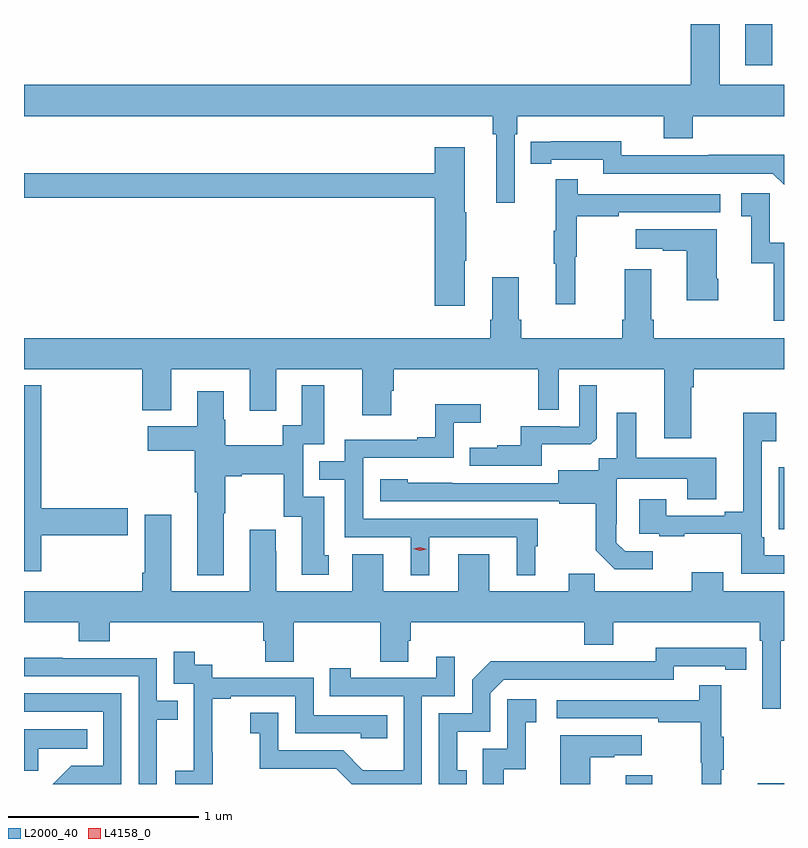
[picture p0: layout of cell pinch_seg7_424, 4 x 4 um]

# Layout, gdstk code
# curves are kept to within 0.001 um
import gdstk
lib = gdstk.Library(unit=1e-6, precision=1e-09)
def R(c, l, rs):  # rectangles x0, y0, x1, y1
    for r in rs: c.add(gdstk.rectangle(r[:2], r[2:], *l))
def P(c, l, *ps):  # polygons
    for p in ps: c.add(gdstk.Polygon(p, *l))
L2000_40 = (2000, 40)
L4158_0 = (4158, 0)

pinch_seg7_424 = lib.new_cell('pinch_seg7_424')
R(pinch_seg7_424, L2000_40, [(329.747,1046.385,329.887,1046.43), (330.443,1046.385,330.58,1046.389), (330.552,1047.725,330.58,1048.051), (330.377,1050.168,330.517,1050.385)])
P(pinch_seg7_424, L2000_40, [(329.163,1049.804),(329.177,1049.804),(329.177,1049.9),(329.948,1049.9),(329.948,1049.783),(330.101,1049.783),(330.101,1049.9),(330.58,1049.9),(330.58,1050.064),(330.241,1050.064),(330.241,1050.385),(330.089,1050.385),(330.089,1050.064),(326.58,1050.064),(326.58,1049.9),(329.047,1049.9),(329.047,1049.804),(329.066,1049.804),(329.066,1049.445),(329.163,1049.445)],
  [(330.58,1049.696),(330.184,1049.696),(330.184,1049.694),(329.724,1049.694),(329.724,1049.767),(329.248,1049.766),(329.248,1049.65),(329.356,1049.65),(329.356,1049.67),(329.628,1049.67),(329.628,1049.598),(330.522,1049.598),(330.58,1049.54)],
  [(328.9,1049.14),(328.908,1049.14),(328.908,1049.393),(328.9,1049.393),(328.9,1049.737),(328.742,1049.737),(328.742,1049.599),(326.58,1049.599),(326.58,1049.47),(328.742,1049.47),(328.742,1048.902),(328.9,1048.902)],
  [(329.48,1049.16),(329.488,1049.16),(329.488,1049.374),(329.711,1049.374),(329.711,1049.394),(330.244,1049.394),(330.244,1049.49),(329.495,1049.49),(329.495,1049.569),(329.378,1049.569),(329.378,1049.297),(329.367,1049.297),(329.367,1049.123),(329.378,1049.123),(329.378,1048.911),(329.48,1048.911)],
  [(330.58,1049.235),(330.504,1049.235),(330.504,1049.494),(330.354,1049.494),(330.354,1049.373),(330.407,1049.373),(330.407,1049.127),(330.525,1049.127),(330.525,1048.824),(330.58,1048.824)],
  [(330.234,1049.044),(330.226,1049.044),(330.226,1049.305),(329.799,1049.305),(329.799,1049.201),(329.942,1049.201),(329.942,1049.191),(330.068,1049.191),(330.068,1048.932),(330.234,1048.932)],
  [(330.091,1048.472),(330.104,1048.472),(330.104,1048.568),(330.58,1048.568),(330.58,1048.732),(329.894,1048.732),(329.894,1048.828),(329.881,1048.828),(329.881,1049.095),(329.741,1049.095),(329.741,1048.828),(329.729,1048.828),(329.729,1048.732),(329.198,1048.732),(329.198,1048.828),(329.185,1048.828),(329.185,1049.053),(329.045,1049.053),(329.045,1048.828),(329.033,1048.828),(329.033,1048.732),(326.58,1048.732),(326.58,1048.568),(327.203,1048.568),(327.203,1048.352),(327.355,1048.352),(327.355,1048.568),(327.767,1048.568),(327.767,1048.35),(327.907,1048.35),(327.907,1048.568),(328.361,1048.568),(328.361,1048.326),(328.513,1048.326),(328.513,1048.455),(328.526,1048.455),(328.526,1048.568),(329.286,1048.568),(329.286,1048.354),(329.394,1048.354),(329.394,1048.568),(329.951,1048.568),(329.951,1048.206),(330.091,1048.206)],
  [(329.305,1048.172),(329.563,1048.172),(329.595,1048.203),(329.595,1048.483),(329.502,1048.483),(329.502,1048.266),(329.402,1048.266),(329.402,1048.269),(329.195,1048.269),(329.195,1048.168),(329.071,1048.168),(329.071,1048.156),(328.927,1048.156),(328.927,1048.059),(329.305,1048.059)],
  [(326.672,1047.694),(327.127,1047.694),(327.127,1047.836),(326.672,1047.836),(326.672,1048.483),(326.58,1048.483),(326.58,1047.504),(326.672,1047.504)],
  [(327.631,1047.811),(327.639,1047.811),(327.639,1048.004),(327.727,1048.004),(327.727,1048.016),(327.947,1048.016),(327.947,1047.792),(328.043,1047.792),(328.043,1047.486),(328.183,1047.486),(328.183,1047.588),(328.159,1047.588),(328.159,1047.897),(328.05,1047.897),(328.05,1048.173),(328.159,1048.173),(328.159,1048.483),(328.043,1048.483),(328.043,1048.274),(327.942,1048.274),(327.942,1048.168),(327.639,1048.168),(327.639,1048.302),(327.631,1048.302),(327.631,1048.453),(327.491,1048.453),(327.491,1048.267),(327.231,1048.267),(327.231,1048.138),(327.479,1048.138),(327.479,1047.92),(327.491,1047.92),(327.491,1047.485),(327.631,1047.485)],
  [(328.714,1047.684),(329.174,1047.684),(329.174,1047.485),(329.272,1047.485),(329.272,1047.636),(329.284,1047.636),(329.284,1047.78),(328.365,1047.78),(328.365,1048.101),(328.842,1048.101),(328.842,1048.286),(328.984,1048.286),(328.984,1048.385),(328.744,1048.385),(328.744,1048.21),(328.649,1048.21),(328.649,1048.197),(328.269,1048.197),(328.269,1048.083),(328.135,1048.083),(328.135,1047.987),(328.269,1047.987),(328.269,1047.684),(328.616,1047.684),(328.616,1047.485),(328.714,1047.485)],
  [(330.58,1047.589),(330.475,1047.589),(330.475,1047.685),(330.462,1047.685),(330.462,1048.19),(330.538,1048.19),(330.538,1048.339),(330.365,1048.339),(330.365,1047.817),(330.269,1047.817),(330.269,1047.798),(329.959,1047.798),(329.959,1047.883),(329.819,1047.883),(329.819,1047.702),(329.923,1047.702),(329.923,1047.69),(330.055,1047.69),(330.055,1047.701),(330.354,1047.701),(330.354,1047.492),(330.58,1047.492)],
  [(329.89,1047.609),(329.745,1047.609),(329.698,1047.656),(329.698,1047.751),(329.7,1047.751),(329.7,1047.992),(330.071,1047.992),(330.071,1047.883),(330.223,1047.883),(330.223,1048.102),(329.803,1048.102),(329.803,1048.339),(329.699,1048.339),(329.699,1048.1),(329.604,1048.1),(329.604,1048.036),(329.393,1048.036),(329.393,1047.969),(328.599,1047.97),(328.599,1047.988),(328.455,1047.988),(328.455,1047.873),(329.397,1047.873),(329.397,1047.861),(329.589,1047.861),(329.589,1047.615),(329.689,1047.515),(329.89,1047.515)],
  [(327.839,1047.138),(327.851,1047.138),(327.851,1047.028),(327.999,1047.028),(327.999,1047.236),(328.456,1047.236),(328.456,1047.028),(328.603,1047.028),(328.603,1047.138),(328.616,1047.138),(328.616,1047.236),(329.528,1047.236),(329.528,1047.119),(329.68,1047.119),(329.68,1047.236),(330.452,1047.236),(330.452,1047.14),(330.465,1047.14),(330.465,1046.781),(330.562,1046.781),(330.562,1047.14),(330.58,1047.14),(330.58,1047.4),(330.259,1047.4),(330.259,1047.499),(330.095,1047.499),(330.095,1047.4),(329.585,1047.4),(329.585,1047.491),(329.447,1047.491),(329.447,1047.4),(329.029,1047.4),(329.029,1047.595),(328.865,1047.595),(328.865,1047.4),(328.471,1047.4),(328.471,1047.595),(328.307,1047.595),(328.307,1047.4),(327.907,1047.4),(327.907,1047.611),(327.904,1047.611),(327.904,1047.724),(327.767,1047.724),(327.767,1047.4),(327.355,1047.4),(327.355,1047.802),(327.215,1047.802),(327.215,1047.496),(327.203,1047.496),(327.203,1047.4),(326.58,1047.4),(326.58,1047.236),(326.867,1047.236),(326.867,1047.137),(327.032,1047.137),(327.032,1047.236),(327.839,1047.236)],
  [(328.91,1046.457),(328.861,1046.457),(328.861,1046.661),(329.034,1046.661),(329.034,1046.862),(329.106,1046.934),(330,1046.934),(330,1047.006),(330.272,1047.006),(330.272,1046.986),(330.38,1046.986),(330.38,1047.102),(329.904,1047.103),(329.904,1047.03),(329.444,1047.03),(329.444,1047.032),(329.036,1047.032),(328.938,1046.934),(328.938,1046.757),(328.764,1046.757),(328.764,1046.385),(328.91,1046.385)],
  [(327.573,1046.551),(327.572,1046.551),(327.572,1046.835),(327.667,1046.835),(327.667,1046.847),(328.008,1046.847),(328.008,1046.652),(328.353,1046.652),(328.353,1046.625),(328.493,1046.625),(328.493,1046.748),(328.104,1046.748),(328.104,1046.943),(327.57,1046.943),(327.57,1047.012),(327.478,1047.012),(327.478,1047.082),(327.369,1047.082),(327.369,1046.913),(327.474,1046.913),(327.474,1046.684),(327.473,1046.684),(327.473,1046.455),(327.375,1046.455),(327.375,1046.385),(327.573,1046.385)],
  [(328.674,1046.847),(328.848,1046.847),(328.848,1047.055),(328.751,1047.055),(328.751,1046.943),(328.3,1046.943),(328.3,1046.995),(328.189,1046.995),(328.189,1046.847),(328.578,1046.847),(328.578,1046.458),(328.364,1046.458),(328.26,1046.562),(327.918,1046.562),(327.918,1046.761),(327.771,1046.761),(327.771,1046.651),(327.82,1046.651),(327.82,1046.466),(328.223,1046.466),(328.304,1046.385),(328.674,1046.385)],
  [(327.279,1046.722),(327.389,1046.722),(327.389,1046.823),(327.279,1046.823),(327.279,1047.048),(326.783,1047.048),(326.783,1047.05),(326.58,1047.05),(326.58,1046.952),(327.183,1046.952),(327.183,1046.385),(327.279,1046.385)],
  [(330.251,1046.459),(330.262,1046.459),(330.262,1046.633),(330.251,1046.633),(330.251,1046.905),(330.133,1046.905),(330.133,1046.826),(329.385,1046.826),(329.385,1046.73),(329.917,1046.73),(329.917,1046.71),(330.141,1046.71),(330.141,1046.496),(330.148,1046.496),(330.148,1046.385),(330.251,1046.385)],
  [(327.093,1046.862),(326.58,1046.862),(326.58,1046.766),(326.997,1046.766),(326.997,1046.481),(326.828,1046.481),(326.732,1046.385),(327.093,1046.385)],
  [(329.104,1046.463),(329.222,1046.463),(329.222,1046.709),(329.275,1046.709),(329.275,1046.83),(329.124,1046.83),(329.124,1046.571),(328.995,1046.571),(328.995,1046.385),(329.104,1046.385)],
  [(326.655,1046.57),(326.912,1046.57),(326.912,1046.674),(326.58,1046.674),(326.58,1046.455),(326.655,1046.455)],
  [(329.56,1046.527),(329.687,1046.527),(329.687,1046.537),(329.83,1046.537),(329.83,1046.641),(329.402,1046.641),(329.402,1046.385),(329.56,1046.385)])
P(pinch_seg7_424, L4158_0, [(328.664,1047.612),(328.629,1047.624),(328.629,1047.624),(328.629,1047.624),(328.665,1047.632),(328.701,1047.621),(328.701,1047.621),(328.701,1047.621)])

lib.write_gds('pinch_seg7_424.gds')
